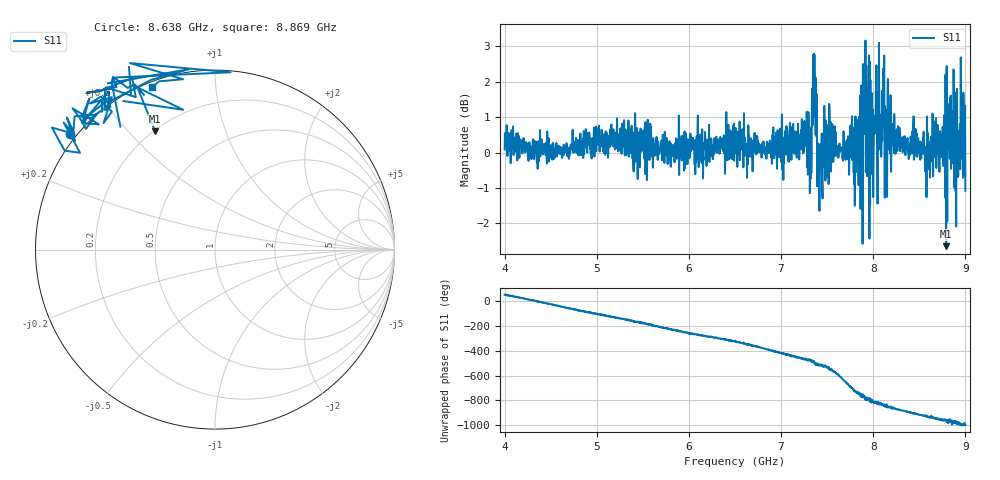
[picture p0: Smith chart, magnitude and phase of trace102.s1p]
! Created with skrf 1.8.0 (http://scikit-rf.org).
# Hz S RI R 50.0
!freq ReS11 ImS11
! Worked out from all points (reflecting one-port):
!   1601 points, 4 GHz to 9 GHz, reference 50 ohm
!   lowest |S11| = -2.6 dB at 8.791 GHz (marker M1), VSWR 6.63, Z = 10.3 + j29.8 ohm
!   phase of S11 starts at 51 deg and turns -1047 deg over the sweep
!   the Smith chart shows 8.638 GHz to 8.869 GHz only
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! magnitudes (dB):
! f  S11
! 4 GHz  0.1
! 4.625 GHz  -0.2
! 5.25 GHz  0.1
! 5.875 GHz  0.1
! 6.5 GHz  0.2
! 7.125 GHz  0.7
! 7.272 GHz  0.2
! 7.306 GHz  0.2
! 7.362 GHz  2.8
! 7.4 GHz  0.2
! 7.425 GHz  0.2
! 7.534 GHz  0.2
! 7.75 GHz  -0.1
! 7.859 GHz  1.6
! 7.912 GHz  1.7
! 7.981 GHz  -0.6
! 8.009 GHz  1.0
! 8.022 GHz  0.9
! 8.038 GHz  0.6
! 8.066 GHz  0.9
! 8.094 GHz  1.7
! 8.375 GHz  0.2
! 8.594 GHz  -0.4
! 8.791 GHz  -2.6
! 8.85 GHz  0.2
! 8.919 GHz  -0.1
! 8.959 GHz  1.5
! 9 GHz  -1.1
